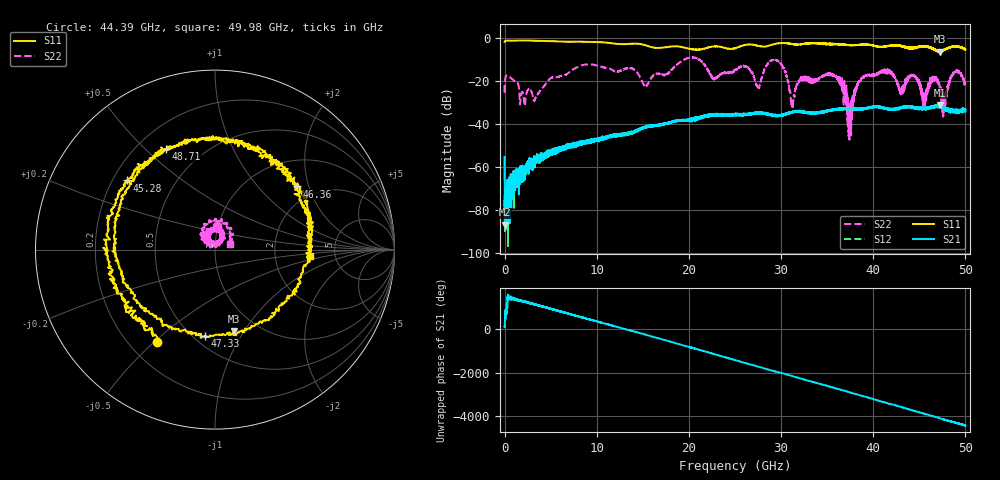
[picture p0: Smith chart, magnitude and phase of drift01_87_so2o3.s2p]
!Created with skrf (http://scikit-rf.org).
# Hz S RI R 50.0
!freq ReS11 ImS11 ReS21 ImS21 ReS12 ImS12 ReS22 ImS22
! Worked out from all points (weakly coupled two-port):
!   10001 points, 300 kHz to 50 GHz, reference 50 ohm
!   highest |S21| = -31.42 dB at 47.21 GHz (marker M1); lowest = -87.0 dB at 75.3 MHz (marker M2)
!   lowest |S11| = -6.6 dB at 47.21 GHz (marker M3), VSWR 2.76, Z = 38.8 - j45.2 ohm
!   |S11| at or under -10 dB: nowhere
!   |S22| runs from -47.6 to -9.2 dB; largest |S21 - S12| = 0.0035
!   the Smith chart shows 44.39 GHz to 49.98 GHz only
!   S11 on the Smith chart (normalised r, x): 44.39 GHz: 0.32, -0.51; 45.28 GHz: 0.26, +0.33; 46.36 GHz: 1.59, +1.68; 47.33 GHz: 0.57, -0.71; 48.71 GHz: 0.32, +0.58; 49.98 GHz: 3.20, -0.30
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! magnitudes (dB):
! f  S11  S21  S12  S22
! 300 kHz  -2.1  -55.5  -73.6  -22.4
! 75.3 MHz  -1.5  -87.0  -80.5  -19.0
! 3.29 GHz  -1.5  -56.9  -57.1  -28.8
! 8.335 GHz  -1.9  -48.6  -49.5  -12.9
! 16.67 GHz  -4.8  -40.7  -40.8  -16.7
! 25 GHz  -5.0  -35.9  -36.1  -15.4
! 27.53 GHz  -3.9  -35.1  -35.0  -23.1
! 29.58 GHz  -2.8  -36.3  -36.2  -10.6
! 31.23 GHz  -3.0  -34.6  -34.7  -31.7
! 33.34 GHz  -2.6  -34.9  -35.0  -20.1
! 36.08 GHz  -3.1  -33.3  -33.2  -18.3
! 37.49 GHz  -3.5  -33.0  -33.0  -36.2
! 38.65 GHz  -3.3  -33.5  -33.3  -19.8
! 41.67 GHz  -3.9  -33.1  -33.3  -16.3
! 44.39 GHz  -4.4  -32.2  -32.4  -17.6
! 45.28 GHz  -4.1  -32.5  -32.9  -25.1
! 46.36 GHz  -4.8  -32.3  -32.4  -19.7
! 47.21 GHz  -6.6  -31.4  -31.7  -23.2
! 47.33 GHz  -6.3  -32.0  -32.3  -24.1
! 48.71 GHz  -4.1  -34.5  -34.9  -16.6
! 49.98 GHz  -5.6  -33.9  -33.4  -21.2
! 50 GHz  -5.5  -33.4  -33.8  -21.5
